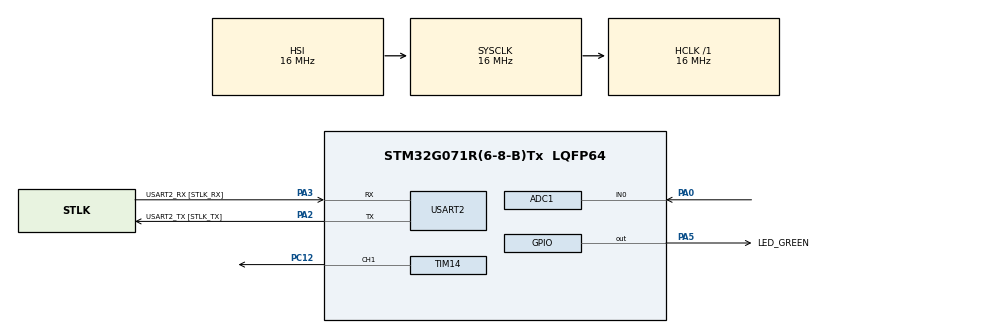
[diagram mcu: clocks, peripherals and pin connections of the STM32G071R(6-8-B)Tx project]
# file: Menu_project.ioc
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ADC1.Channel-0\#ChannelRegularConversion=ADC_CHANNEL_0
ADC1.NbrOfConversionFlag=1
ADC1.Rank-0\#ChannelRegularConversion=1
ADC1.SamplingTime-0\#ChannelRegularConversion=ADC_SAMPLINGTIME_COMMON_1
ADC1.SelectedChannel=ADC_CHANNEL_0
ADC1.master=1
Mcu.Family=STM32G0
Mcu.Name=STM32G071R(6-8-B)Tx
Mcu.Package=LQFP64
PA0.Mode=IN0
PA0.Signal=ADC1_IN0
PA13.GPIO_Label=TMS
PA13.Signal=SYS_SWDIO
PA14-BOOT0.GPIO_Label=TCK
PA14-BOOT0.Signal=SYS_SWCLK
PA2.GPIO_Label=USART2_TX [STLK_TX]
PA2.Mode=Asynchronous
PA2.Signal=USART2_TX
PA3.GPIO_Label=USART2_RX [STLK_RX]
PA3.Mode=Asynchronous
PA3.Signal=USART2_RX
PA5.GPIO_Label=LED_GREEN
PA5.GPIO_Speed=GPIO_SPEED_FREQ_HIGH
PA5.Signal=GPIO_Output
PC12.Signal=S_TIM14_CH1
PC13.Signal=SYS_WKUP2
PC14-OSC32_IN\ (PC14).Signal=RCC_OSC32_IN
PC15-OSC32_OUT\ (PC15).Signal=RCC_OSC32_OUT
PF0-OSC_IN\ (PF0).GPIO_Label=MCO
PF0-OSC_IN\ (PF0).Signal=RCC_OSC_IN
ProjectManager.HeapSize=0x200
ProjectManager.StackSize=0x400
ProjectManager.TargetToolchain=STM32CubeIDE
RCC.AHBFreq_Value=16000000
RCC.CortexFreq_Value=16000000
RCC.EXTERNAL_CLOCK_VALUE=12288000
RCC.HCLKFreq_Value=16000000
RCC.HSE_VALUE=8000000
RCC.HSI_VALUE=16000000
RCC.LSE_VALUE=32768
RCC.SYSCLKFreq_VALUE=16000000
RCC.VCOOutputFreq_Value=128000000
SH.S_TIM14_CH1.0=TIM14_CH1,PWM Generation1 CH1
TIM14.Channel=TIM_CHANNEL_1
TIM14.Period=1000
TIM14.Prescaler=15
TIM14.Pulse=0
USART2.VirtualMode-Asynchronous=VM_ASYNC
VP_SYS_VS_DBSignals.Mode=DisableDeadBatterySignals
VP_TIM14_VS_ClockSourceINT.Mode=Enable_Timer
board=NUCLEO-G071RB

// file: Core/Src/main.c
/* USER CODE BEGIN Header */
/**
  ******************************************************************************
  * @file           : main.c
  * @brief          : Main program body
  ******************************************************************************
  * @attention
  *
  * <h2><center>&copy; Copyright (c) 2023 STMicroelectronics.
  * All rights reserved.</center></h2>
  *
  * This software component is licensed by ST under BSD 3-Clause license,
  * the "License"; You may not use this file except in compliance with the
  * License. You may obtain a copy of the License at:
  *                        opensource.org/licenses/BSD-3-Clause
  *
  ******************************************************************************
  */
/* USER CODE END Header */
#include "main.h"

ADC_HandleTypeDef hadc1;

TIM_HandleTypeDef htim14;

UART_HandleTypeDef huart2;

/* USER CODE BEGIN PV */

uint8_t data[] = "\r\n//--------------menu-------------//\r\n1. LED on PWM\r\n2. ADC channel 1\r\n3. ADC channel 2\r\nEnter anything between 1 2 3: ";
char data1[10];
uint16_t channel_0_raw, channel_1_raw;
char msg[10];

/* USER CODE END PV */

void SystemClock_Config(void);
static void MX_GPIO_Init(void);
static void MX_ADC1_Init(void);
static void MX_USART2_UART_Init(void);
static void MX_TIM14_Init(void);

/* USER CODE BEGIN 0 */
void Set_duty_cycle(int dutyCycle){

	TIM_OC_InitTypeDef sConfigOC = {0};

	  /* USER CODE BEGIN TIM14_Init 1 */

	  /* USER CODE END TIM14_Init 1 */
	  htim14.Instance = TIM14;
	  htim14.Init.Prescaler = 16;
	  htim14.Init.CounterMode = TIM_COUNTERMODE_UP;
	  htim14.Init.Period = 1000;
	  htim14.Init.ClockDivision = TIM_CLOCKDIVISION_DIV1;
	  htim14.Init.AutoReloadPreload = TIM_AUTORELOAD_PRELOAD_DISABLE;
	  if (HAL_TIM_Base_Init(&htim14) != HAL_OK)
	  {
	    Error_Handler();
	  }
	  if (HAL_TIM_PWM_Init(&htim14) != HAL_OK)
	  {
	    Error_Handler();
	  }
	  sConfigOC.OCMode = TIM_OCMODE_PWM1;
	  sConfigOC.Pulse = dutyCycle;
	  sConfigOC.OCPolarity = TIM_OCPOLARITY_HIGH;
	  sConfigOC.OCFastMode = TIM_OCFAST_DISABLE;
	  if (HAL_TIM_PWM_ConfigChannel(&htim14, &sConfigOC, TIM_CHANNEL_1) != HAL_OK)
	  {
	    Error_Handler();
	  }
	  /* USER CODE BEGIN TIM14_Init 2 */

	  /* USER CODE END TIM14_Init 2 */
	  HAL_TIM_MspPostInit(&htim14);

	  HAL_TIM_PWM_Start(&htim14, channel_0_raw);

}
/* USER CODE END 0 */

int main(void)
{

  /* MCU Configuration--------------------------------------------------------*/

  /* Reset of all peripherals, Initializes the Flash interface and the Systick. */
  HAL_Init();

  /* Configure the system clock */
  SystemClock_Config();

  /* Initialize all configured peripherals */
  MX_GPIO_Init();
  MX_ADC1_Init();
  MX_USART2_UART_Init();
  MX_TIM14_Init();
  /* USER CODE BEGIN 2 */
  HAL_TIM_PWM_Start(&htim14, channel_0_raw);
  /* USER CODE END 2 */

  /* Infinite loop */
  /* USER CODE BEGIN WHILE */

  Set_duty_cycle(99);

  HAL_UART_Transmit(&huart2, data, sizeof(data), HAL_MAX_DELAY);
  HAL_UART_Receive(&huart2, data1, sizeof(data1), 5000);
  HAL_UART_Transmit(&huart2, data1, sizeof(data1), HAL_MAX_DELAY);

  while (1)
  {

	 //

    /* USER CODE END WHILE */

  }
}

void SystemClock_Config(void)
{
  RCC_OscInitTypeDef RCC_OscInitStruct = {0};
  RCC_ClkInitTypeDef RCC_ClkInitStruct = {0};
  RCC_PeriphCLKInitTypeDef PeriphClkInit = {0};

  /** Configure the main internal regulator output voltage
  */
  HAL_PWREx_ControlVoltageScaling(PWR_REGULATOR_VOLTAGE_SCALE1);
  /** Initializes the RCC Oscillators according to the specified parameters
  * in the RCC_OscInitTypeDef structure.
  */
  RCC_OscInitStruct.OscillatorType = RCC_OSCILLATORTYPE_HSI;
  RCC_OscInitStruct.HSIState = RCC_HSI_ON;
  RCC_OscInitStruct.HSIDiv = RCC_HSI_DIV1;
  RCC_OscInitStruct.HSICalibrationValue = RCC_HSICALIBRATION_DEFAULT;
  RCC_OscInitStruct.PLL.PLLState = RCC_PLL_NONE;
  if (HAL_RCC_OscConfig(&RCC_OscInitStruct) != HAL_OK)
  {
    Error_Handler();
  }
  /** Initializes the CPU, AHB and APB buses clocks
  */
  RCC_ClkInitStruct.ClockType = RCC_CLOCKTYPE_HCLK|RCC_CLOCKTYPE_SYSCLK
                              |RCC_CLOCKTYPE_PCLK1;
  RCC_ClkInitStruct.SYSCLKSource = RCC_SYSCLKSOURCE_HSI;
  RCC_ClkInitStruct.AHBCLKDivider = RCC_SYSCLK_DIV1;
  RCC_ClkInitStruct.APB1CLKDivider = RCC_HCLK_DIV1;

  if (HAL_RCC_ClockConfig(&RCC_ClkInitStruct, FLASH_LATENCY_0) != HAL_OK)
  {
    Error_Handler();
  }
  /** Initializes the peripherals clocks
  */
  PeriphClkInit.PeriphClockSelection = RCC_PERIPHCLK_USART2|RCC_PERIPHCLK_ADC;
  PeriphClkInit.Usart2ClockSelection = RCC_USART2CLKSOURCE_PCLK1;
  PeriphClkInit.AdcClockSelection = RCC_ADCCLKSOURCE_SYSCLK;
  if (HAL_RCCEx_PeriphCLKConfig(&PeriphClkInit) != HAL_OK)
  {
    Error_Handler();
  }
}

static void MX_ADC1_Init(void)
{

  ADC_ChannelConfTypeDef sConfig = {0};

  /** Configure the global features of the ADC (Clock, Resolution, Data Alignment and number of conversion)
  */
  hadc1.Instance = ADC1;
  hadc1.Init.ClockPrescaler = ADC_CLOCK_SYNC_PCLK_DIV2;
  hadc1.Init.Resolution = ADC_RESOLUTION_12B;
  hadc1.Init.DataAlign = ADC_DATAALIGN_RIGHT;
  hadc1.Init.ScanConvMode = ADC_SCAN_DISABLE;
  hadc1.Init.EOCSelection = ADC_EOC_SINGLE_CONV;
  hadc1.Init.LowPowerAutoWait = DISABLE;
  hadc1.Init.LowPowerAutoPowerOff = DISABLE;
  hadc1.Init.ContinuousConvMode = DISABLE;
  hadc1.Init.NbrOfConversion = 1;
  hadc1.Init.DiscontinuousConvMode = DISABLE;
  hadc1.Init.ExternalTrigConv = ADC_SOFTWARE_START;
  hadc1.Init.ExternalTrigConvEdge = ADC_EXTERNALTRIGCONVEDGE_NONE;
  hadc1.Init.DMAContinuousRequests = DISABLE;
  hadc1.Init.Overrun = ADC_OVR_DATA_PRESERVED;
  hadc1.Init.SamplingTimeCommon1 = ADC_SAMPLETIME_1CYCLE_5;
  hadc1.Init.SamplingTimeCommon2 = ADC_SAMPLETIME_1CYCLE_5;
  hadc1.Init.OversamplingMode = DISABLE;
  hadc1.Init.TriggerFrequencyMode = ADC_TRIGGER_FREQ_HIGH;
  if (HAL_ADC_Init(&hadc1) != HAL_OK)
  {
    Error_Handler();
  }
  /** Configure Regular Channel
  */
  sConfig.Channel = ADC_CHANNEL_0;
  sConfig.Rank = ADC_REGULAR_RANK_1;
  sConfig.SamplingTime = ADC_SAMPLINGTIME_COMMON_1;
  if (HAL_ADC_ConfigChannel(&hadc1, &sConfig) != HAL_OK)
  {
    Error_Handler();
  }

}

static void MX_TIM14_Init(void)
{

  TIM_OC_InitTypeDef sConfigOC = {0};

  htim14.Instance = TIM14;
  htim14.Init.Prescaler = 15;
  htim14.Init.CounterMode = TIM_COUNTERMODE_UP;
  htim14.Init.Period = 1000;
  htim14.Init.ClockDivision = TIM_CLOCKDIVISION_DIV1;
  htim14.Init.AutoReloadPreload = TIM_AUTORELOAD_PRELOAD_DISABLE;
  if (HAL_TIM_Base_Init(&htim14) != HAL_OK)
  {
    Error_Handler();
  }
  if (HAL_TIM_PWM_Init(&htim14) != HAL_OK)
  {
    Error_Handler();
  }
  sConfigOC.OCMode = TIM_OCMODE_PWM1;
  sConfigOC.Pulse = 0;
  sConfigOC.OCPolarity = TIM_OCPOLARITY_HIGH;
  sConfigOC.OCFastMode = TIM_OCFAST_DISABLE;
  if (HAL_TIM_PWM_ConfigChannel(&htim14, &sConfigOC, TIM_CHANNEL_1) != HAL_OK)
  {
    Error_Handler();
  }
  HAL_TIM_MspPostInit(&htim14);

}

static void MX_USART2_UART_Init(void)
{

  huart2.Instance = USART2;
  huart2.Init.BaudRate = 115200;
  huart2.Init.WordLength = UART_WORDLENGTH_8B;
  huart2.Init.StopBits = UART_STOPBITS_1;
  huart2.Init.Parity = UART_PARITY_NONE;
  huart2.Init.Mode = UART_MODE_TX_RX;
  huart2.Init.HwFlowCtl = UART_HWCONTROL_NONE;
  huart2.Init.OverSampling = UART_OVERSAMPLING_16;
  huart2.Init.OneBitSampling = UART_ONE_BIT_SAMPLE_DISABLE;
  huart2.Init.ClockPrescaler = UART_PRESCALER_DIV1;
  huart2.AdvancedInit.AdvFeatureInit = UART_ADVFEATURE_NO_INIT;
  if (HAL_UART_Init(&huart2) != HAL_OK)
  {
    Error_Handler();
  }
  if (HAL_UARTEx_SetTxFifoThreshold(&huart2, UART_TXFIFO_THRESHOLD_1_8) != HAL_OK)
  {
    Error_Handler();
  }
  if (HAL_UARTEx_SetRxFifoThreshold(&huart2, UART_RXFIFO_THRESHOLD_1_8) != HAL_OK)
  {
    Error_Handler();
  }
  if (HAL_UARTEx_DisableFifoMode(&huart2) != HAL_OK)
  {
    Error_Handler();
  }

}

static void MX_GPIO_Init(void)
{
  GPIO_InitTypeDef GPIO_InitStruct = {0};

  /* GPIO Ports Clock Enable */
  __HAL_RCC_GPIOC_CLK_ENABLE();
  __HAL_RCC_GPIOF_CLK_ENABLE();
  __HAL_RCC_GPIOA_CLK_ENABLE();

  /*Configure GPIO pin Output Level */
  HAL_GPIO_WritePin(LED_GREEN_GPIO_Port, LED_GREEN_Pin, GPIO_PIN_RESET);

  /*Configure GPIO pin : LED_GREEN_Pin */
  GPIO_InitStruct.Pin = LED_GREEN_Pin;
  GPIO_InitStruct.Mode = GPIO_MODE_OUTPUT_PP;
  GPIO_InitStruct.Pull = GPIO_NOPULL;
  GPIO_InitStruct.Speed = GPIO_SPEED_FREQ_HIGH;
  HAL_GPIO_Init(LED_GREEN_GPIO_Port, &GPIO_InitStruct);

}

void Error_Handler(void)
{
  __disable_irq();
  while (1)
  {
  }
}

/************************ (C) COPYRIGHT STMicroelectronics *****END OF FILE****/
